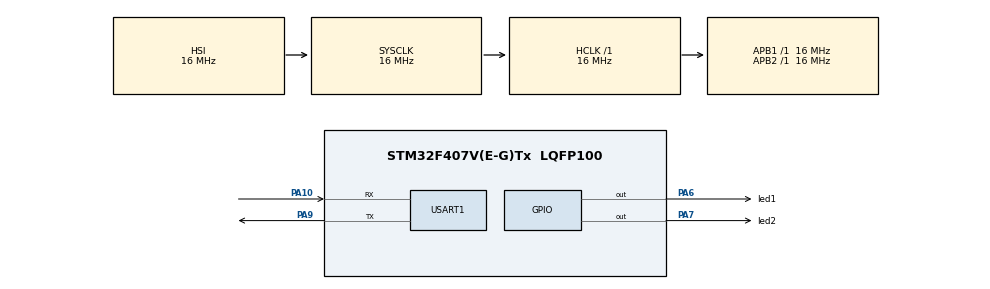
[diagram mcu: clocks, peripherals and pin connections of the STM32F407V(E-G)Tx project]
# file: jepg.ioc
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Mcu.Family=STM32F4
Mcu.Name=STM32F407V(E-G)Tx
Mcu.Package=LQFP100
NVIC.PriorityGroup=NVIC_PRIORITYGROUP_4
NVIC.USART1_IRQn=true\:0\:0\:false\:false\:true\:true\:true
PA10.Mode=Asynchronous
PA10.Signal=USART1_RX
PA13.Mode=Trace_Asynchronous_SW
PA13.Signal=SYS_JTMS-SWDIO
PA14.Mode=Trace_Asynchronous_SW
PA14.Signal=SYS_JTCK-SWCLK
PA6.GPIO_Label=led1
PA6.Signal=GPIO_Output
PA7.GPIO_Label=led2
PA7.Signal=GPIO_Output
PA9.Mode=Asynchronous
PA9.Signal=USART1_TX
PB3.Mode=Trace_Asynchronous_SW
PB3.Signal=SYS_JTDO-SWO
PC14-OSC32_IN.Mode=LSE-External-Oscillator
PC14-OSC32_IN.Signal=RCC_OSC32_IN
PC15-OSC32_OUT.Mode=LSE-External-Oscillator
PC15-OSC32_OUT.Signal=RCC_OSC32_OUT
PH0-OSC_IN.Mode=HSE-External-Oscillator
PH0-OSC_IN.Signal=RCC_OSC_IN
PH1-OSC_OUT.Mode=HSE-External-Oscillator
PH1-OSC_OUT.Signal=RCC_OSC_OUT
ProjectManager.HeapSize=0x200
ProjectManager.StackSize=0x400
ProjectManager.TargetToolchain=STM32CubeIDE
RCC.48MHZClocksFreq_Value=75000000
RCC.AHBFreq_Value=16000000
RCC.APB1Freq_Value=16000000
RCC.APB2Freq_Value=16000000
RCC.CortexFreq_Value=16000000
RCC.HSE_VALUE=25000000
RCC.HSI_VALUE=16000000
RCC.PLLSourceVirtual=RCC_PLLSOURCE_HSE
RCC.SYSCLKFreq_VALUE=16000000
RCC.VCOOutputFreq_Value=300000000
USART1.VirtualMode=VM_ASYNC
VP_LIBJPEG_VS_JPEGLIB.Mode=Enabled
board=custom

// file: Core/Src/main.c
/* USER CODE BEGIN Header */
/**
 ******************************************************************************
 * @file           : main.c
 * @brief          : Main program body
 ******************************************************************************
 * @attention
 *
 * <h2><center>&copy; Copyright (c) 2021 STMicroelectronics.
 * All rights reserved.</center></h2>
 *
 * This software component is licensed by ST under BSD 3-Clause license,
 * the "License"; You may not use this file except in compliance with the
 * License. You may obtain a copy of the License at:
 *                        opensource.org/licenses/BSD-3-Clause
 *
 ******************************************************************************
 */
/* USER CODE END Header */
#include "main.h"
#include "libjpeg.h"
#include "usart.h"
#include "gpio.h"

/* USER CODE BEGIN Includes */
#include"bmp_file.hpp"
/* USER CODE END Includes */

void SystemClock_Config(void);

int main(void) {

	/* MCU Configuration--------------------------------------------------------*/

	/* Reset of all peripherals, Initializes the Flash interface and the Systick. */
	HAL_Init();

	/* Configure the system clock */
	SystemClock_Config();

	/* Initialize all configured peripherals */
	MX_GPIO_Init();
	MX_LIBJPEG_Init();
	MX_USART1_UART_Init();
	/* USER CODE BEGIN 2 */

	char getLen[8];

	/* USER CODE END 2 */

	/* Infinite loop */
	while (1) {

		/* USER CODE BEGIN 3 */
		// 读取图片大小
		HAL_UART_Receive(&huart1, (uint8_t*) getLen, 8, 0xffff);
		// 输出图片大小
		HAL_UART_Transmit(&huart1, (uint8_t*) getLen, 8, 0xffff);
		int imgLen = 0, i = 0;
		for (i = 0; i < 8; ++i) {
			imgLen = imgLen * 10 + getLen[i] - '0';
		}
		// 建立缓冲区
		unsigned char *imgData = malloc(imgLen);
		memset(imgData, 0, imgLen);
		// 不断接收
		for (i = 0; i < imgLen; i += 256) {
			if (imgLen - i < 256) {
				HAL_UART_Receive(&huart1, (uint8_t*) (imgData + i), imgLen - i,
						0xffff);
			} else {
				HAL_UART_Receive(&huart1, (uint8_t*) (imgData + i), 256,
						0xffff);
			}
		}
		// libjpeg使用
		struct jpeg_decompress_struct info; //for our jpeg info
		struct jpeg_error_mgr err; //the error handler
		info.err = jpeg_std_error(&err);
		jpeg_create_decompress(&info); //fills info structure
		jpeg_mem_src(&info, imgData, imgLen);
		jpeg_read_header(&info, 1);
		jpeg_start_decompress(&info);
		unsigned int w = info.output_width;
		unsigned int h = info.output_height;
		unsigned int numChannels = info.num_components; // 3 = RGB, 4 = RGBA
		unsigned long dataSize = w * h * numChannels;
		unsigned char *data = (unsigned char*) malloc(dataSize);
		unsigned char *rowptr;
		while (info.output_scanline < h) {
			rowptr = data + (h - info.output_scanline - 1) * w * numChannels;
//			rowptr = data + info.output_scanline * w * numChannels;
			jpeg_read_scanlines(&info, &rowptr, 1);
			// bgr 交换
			unsigned char tmpDataSwap;
			int colIdnex = w*numChannels;
			for (i = 0; i < colIdnex; i+=3) {
				tmpDataSwap = rowptr[i];
				rowptr[i] = rowptr[i + 2];
				rowptr[i + 2] = tmpDataSwap;
			}
		}
		jpeg_finish_decompress(&info);
		jpeg_destroy_decompress(&info);

		// 写bmp文件
		struct bmp_file bmp1;
		unsigned fileHeaderSize = sizeof(bmp1.fileHeader);
		unsigned infoHeaderSize = sizeof(bmp1.infoHeader);
		unsigned img_size = dataSize + 4
				- ((bmp1.fileHeader.offset_bits + dataSize) % 4);
		bmp1.fileHeader.offset_bits = fileHeaderSize + infoHeaderSize;
		bmp1.fileHeader.file_type = ('M' << 8) | 'B';
		bmp1.fileHeader.file_size = bmp1.fileHeader.offset_bits + img_size;
		bmp1.infoHeader.image_depth = 24;
		bmp1.infoHeader.color_important = 0;
		bmp1.infoHeader.planes = 1;
		bmp1.infoHeader.compression = 0;
		bmp1.infoHeader.x_pels_permeter = 100;
		bmp1.infoHeader.y_pels_permeter = 100;
		bmp1.infoHeader.color_used = 0;
		bmp1.infoHeader.color_important = 0;
		bmp1.infoHeader.bitmap_info_size = infoHeaderSize;
		bmp1.infoHeader.bitmap_width = w;
		bmp1.infoHeader.bitmap_height = h;
		bmp1.infoHeader.image_size = img_size;

		// 传输头
		for (i = 0; i < fileHeaderSize; i += 256) {
			if (fileHeaderSize - i < 256) {
				HAL_UART_Transmit(&huart1,
						(uint8_t*) ((char*) &bmp1.fileHeader + i),
						fileHeaderSize - i, 0xffff);
			} else {
				HAL_UART_Transmit(&huart1,
						(uint8_t*) ((char*) &bmp1.fileHeader + i), 256, 0xffff);
			}
		}
		for (i = 0; i < infoHeaderSize; i += 256) {
			if (infoHeaderSize - i < 256) {
				HAL_UART_Transmit(&huart1,
						(uint8_t*) ((char*) &bmp1.infoHeader + i),
						infoHeaderSize - i, 0xffff);
			} else {
				HAL_UART_Transmit(&huart1,
						(uint8_t*) ((char*) &bmp1.infoHeader + i), 256, 0xffff);
			}
		}

		// 传输data
		for (i = 0; i < dataSize; i += 256) {
			if (dataSize - i < 256) {
				HAL_UART_Transmit(&huart1, (uint8_t*) (data + i), dataSize - i,
						0xffff);
			} else {
				HAL_UART_Transmit(&huart1, (uint8_t*) (data + i), 256, 0xffff);
			}
		}
		HAL_UART_Transmit(&huart1, (uint8_t*) "\0", img_size - dataSize,
				0xffff);

		HAL_GPIO_TogglePin(GPIOA, led1_Pin);
		HAL_Delay(800);
	}
	/* USER CODE END 3 */
}

void SystemClock_Config(void) {
	RCC_OscInitTypeDef RCC_OscInitStruct = { 0 };
	RCC_ClkInitTypeDef RCC_ClkInitStruct = { 0 };

	/** Configure the main internal regulator output voltage
	 */
	__HAL_RCC_PWR_CLK_ENABLE();
	__HAL_PWR_VOLTAGESCALING_CONFIG(PWR_REGULATOR_VOLTAGE_SCALE1);
	/** Initializes the RCC Oscillators according to the specified parameters
	 * in the RCC_OscInitTypeDef structure.
	 */
	RCC_OscInitStruct.OscillatorType = RCC_OSCILLATORTYPE_HSI;
	RCC_OscInitStruct.HSIState = RCC_HSI_ON;
	RCC_OscInitStruct.HSICalibrationValue = RCC_HSICALIBRATION_DEFAULT;
	RCC_OscInitStruct.PLL.PLLState = RCC_PLL_NONE;
	if (HAL_RCC_OscConfig(&RCC_OscInitStruct) != HAL_OK) {
		Error_Handler();
	}
	/** Initializes the CPU, AHB and APB buses clocks
	 */
	RCC_ClkInitStruct.ClockType = RCC_CLOCKTYPE_HCLK | RCC_CLOCKTYPE_SYSCLK
			| RCC_CLOCKTYPE_PCLK1 | RCC_CLOCKTYPE_PCLK2;
	RCC_ClkInitStruct.SYSCLKSource = RCC_SYSCLKSOURCE_HSI;
	RCC_ClkInitStruct.AHBCLKDivider = RCC_SYSCLK_DIV1;
	RCC_ClkInitStruct.APB1CLKDivider = RCC_HCLK_DIV1;
	RCC_ClkInitStruct.APB2CLKDivider = RCC_HCLK_DIV1;

	if (HAL_RCC_ClockConfig(&RCC_ClkInitStruct, FLASH_LATENCY_0) != HAL_OK) {
		Error_Handler();
	}
}

void Error_Handler(void) {
	__disable_irq();
	while (1) {
	}
}

/************************ (C) COPYRIGHT STMicroelectronics *****END OF FILE****/
